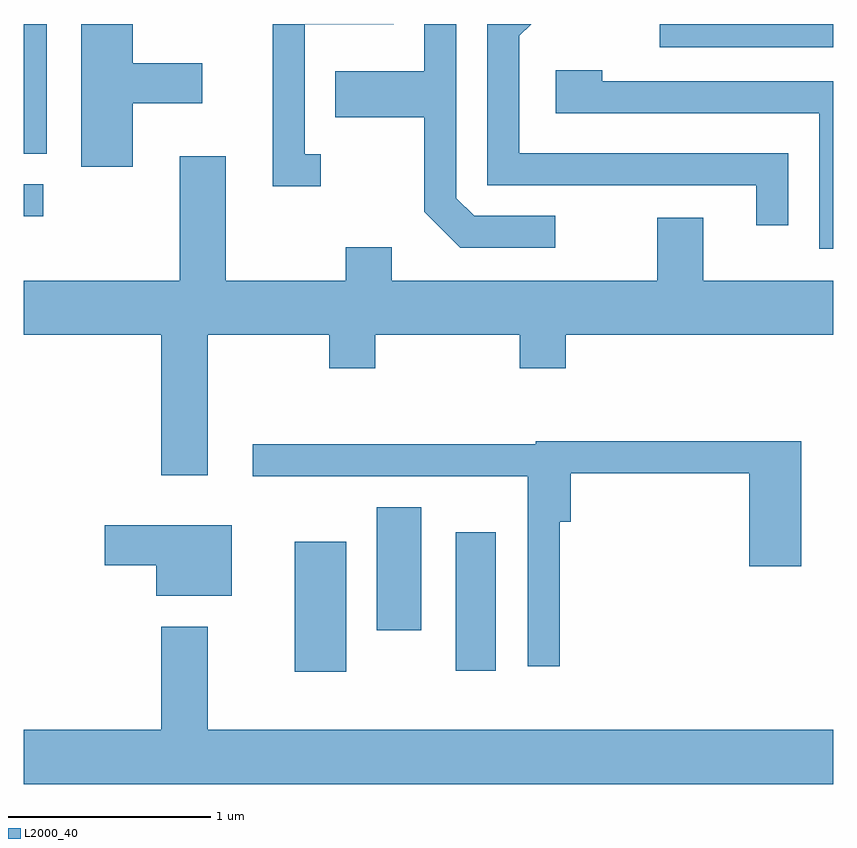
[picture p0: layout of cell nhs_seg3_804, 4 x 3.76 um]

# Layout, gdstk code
import gdstk
lib = gdstk.Library(unit=1e-6, precision=1e-09)
def R(c, l, rs):  # rectangles x0, y0, x1, y1
    for r in rs: c.add(gdstk.rectangle(r[:2], r[2:], *l))
def P(c, l, *ps):  # polygons
    for p in ps: c.add(gdstk.Polygon(p, *l))
L2000_40 = (2000, 40)

nhs_seg3_804 = lib.new_cell('nhs_seg3_804')
R(nhs_seg3_804, L2000_40, [(208.951,1228.691,209.204,1229.334), (209.746,1228.696,209.944,1229.379), (209.356,1228.896,209.574,1229.504), (207.611,1230.941,207.708,1231.099), (207.611,1231.251,207.724,1231.892), (210.753,1231.776,211.611,1231.892)])
P(nhs_seg3_804, L2000_40, [(210.238,1230.944),(209.837,1230.944),(209.749,1231.032),(209.749,1231.892),(209.591,1231.892),(209.591,1231.659),(209.151,1231.659),(209.151,1231.431),(209.591,1231.431),(209.591,1230.964),(209.769,1230.786),(210.238,1230.786)],
  [(211.389,1231.254),(210.059,1231.254),(210.059,1231.834),(210.118,1231.892),(209.901,1231.892),(209.901,1231.096),(211.231,1231.096),(211.231,1230.898),(211.389,1230.898)],
  [(209.078,1231.249),(208.999,1231.249),(208.999,1231.891),(209.439,1231.891),(209.439,1231.892),(208.841,1231.892),(208.841,1231.091),(209.078,1231.091)],
  [(208.149,1231.501),(208.494,1231.501),(208.494,1231.699),(208.149,1231.699),(208.149,1231.892),(207.896,1231.892),(207.896,1231.186),(208.149,1231.186)],
  [(211.611,1231.609),(210.469,1231.609),(210.469,1231.664),(210.241,1231.664),(210.241,1231.451),(211.541,1231.451),(211.541,1230.781),(211.611,1230.781)],
  [(208.519,1230.356),(209.121,1230.356),(209.121,1230.191),(209.349,1230.191),(209.349,1230.356),(210.061,1230.356),(210.061,1230.191),(210.289,1230.191),(210.289,1230.356),(211.611,1230.356),(211.611,1230.624),(210.969,1230.624),(210.969,1230.934),(210.741,1230.934),(210.741,1230.624),(209.429,1230.624),(209.429,1230.789),(209.201,1230.789),(209.201,1230.624),(208.609,1230.624),(208.609,1231.239),(208.381,1231.239),(208.381,1230.624),(207.611,1230.624),(207.611,1230.356),(208.291,1230.356),(208.291,1229.661),(208.519,1229.661)],
  [(210.259,1229.431),(210.314,1229.431),(210.314,1229.671),(211.196,1229.671),(211.196,1229.211),(211.454,1229.211),(211.454,1229.829),(210.14,1229.829),(210.14,1229.814),(208.743,1229.814),(208.743,1229.656),(210.101,1229.656),(210.101,1228.718),(210.259,1228.718)],
  [(208.639,1229.414),(208.011,1229.414),(208.011,1229.216),(208.266,1229.216),(208.266,1229.066),(208.639,1229.066)],
  [(211.611,1228.404),(208.519,1228.404),(208.519,1228.914),(208.291,1228.914),(208.291,1228.404),(207.611,1228.404),(207.611,1228.136),(211.611,1228.136)])

lib.write_gds('nhs_seg3_804.gds')
